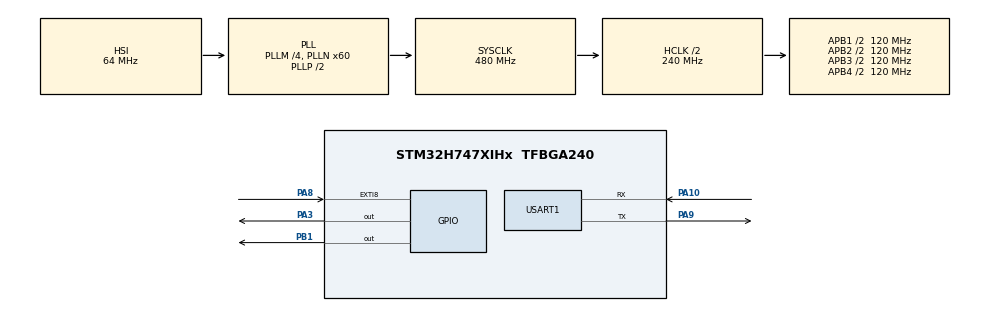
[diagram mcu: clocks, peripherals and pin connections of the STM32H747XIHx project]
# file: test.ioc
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CORTEX_M7.default_mode_Activation=1
CortexM4.IPs=CORTEX_M4\:I,FATFS_M4\:I,FREERTOS_M4\:I,IWDG2\:I,OPENAMP_M4\:I,PDM2PCM_M4\:I,PWR,RCC,RESMGR_UTILITY,SYS_M4\:I,USB_DEVICE_M4\:I,USB_HOST_M4\:I,VREFBUF,WWDG2\:I,GPIO,DMA,BDMA,MDMA,NVIC2\:I
CortexM7.IPs=CORTEX_M7\:I,FATFS_M7\:I,FREERTOS_M7\:I,IWDG1\:I,OPENAMP_M7\:I,PDM2PCM_M7\:I,PWR\:I,RCC\:I,RESMGR_UTILITY\:I,SYS\:I,USB_DEVICE_M7\:I,USB_HOST_M7\:I,VREFBUF\:I,WWDG1\:I,GPIO\:I,DMA\:I,BDMA\:I,MDMA\:I,NVIC1\:I,USART1\:I,RTC\:I
CortexM7.Pins=PA8,PB1,PA3
Mcu.Family=STM32H7
Mcu.Name=STM32H747XIHx
Mcu.Package=TFBGA240
NVIC1.EXTI9_5_IRQn=true\:0\:0\:false\:false\:true\:true\:true\:true
NVIC1.PriorityGroup=NVIC_PRIORITYGROUP_4
NVIC1.USART1_IRQn=true\:0\:0\:false\:false\:true\:true\:true\:true
NVIC2.PriorityGroup=NVIC_PRIORITYGROUP_4
PA10.Mode=Asynchronous
PA10.PinAttribute=CortexM7
PA10.Signal=USART1_RX
PA3.PinAttribute=CortexM7
PA3.PinState=GPIO_PIN_SET
PA3.Signal=GPIO_Output
PA8.GPIO_ModeDefaultEXTI=GPIO_MODE_IT_RISING
PA8.GPIO_PuPd=GPIO_PULLDOWN
PA8.PinAttribute=CortexM7
PA8.Signal=GPXTI8
PA9.Mode=Asynchronous
PA9.PinAttribute=CortexM7
PA9.Signal=USART1_TX
PB1.PinAttribute=CortexM7
PB1.PinState=GPIO_PIN_SET
PB1.Signal=GPIO_Output
ProjectManager.HeapSize=M4-0x200,M7-0x200
ProjectManager.StackSize=M4-0x400,M7-0x400
ProjectManager.TargetToolchain=Makefile
RCC.ADCFreq_Value=129000000
RCC.APB1Freq_Value=120000000
RCC.APB2Freq_Value=120000000
RCC.APB3Freq_Value=120000000
RCC.APB4Freq_Value=120000000
RCC.CortexFreq_Value=480000000
RCC.D1PPRE=RCC_APB3_DIV2
RCC.D2PPRE1=RCC_APB1_DIV2
RCC.D2PPRE2=RCC_APB2_DIV2
RCC.D3PPRE=RCC_APB4_DIV2
RCC.DIVM1=4
RCC.DIVN1=60
RCC.HCLKFreq_Value=240000000
RCC.HPRE=RCC_HCLK_DIV2
RCC.PLL2FRACN=0
RCC.PLL3FRACN=0
RCC.PLLFRACN=0
RCC.SYSCLKFreq_VALUE=480000000
RCC.SYSCLKSource=RCC_SYSCLKSOURCE_PLLCLK
RCC.USBFreq_Value=480000000
SYS.userName=SYS_M7
USART1.VirtualMode-Asynchronous=VM_ASYNC
VP_RTC_VS_RTC_Activate.Mode=RTC_Enabled
VP_RTC_VS_RTC_Calendar.Mode=RTC_Calendar
VP_SYS_M4_VS_Systick.Mode=SysTick
board=custom

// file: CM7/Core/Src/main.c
/* USER CODE BEGIN Header */
/**
 ******************************************************************************
 * @file           : main.c
 * @brief          : Main program body
 ******************************************************************************
 * @attention
 *
 * Copyright (c) 2026 STMicroelectronics.
 * All rights reserved.
 *
 * This software is licensed under terms that can be found in the LICENSE file
 * in the root directory of this software component.
 * If no LICENSE file comes with this software, it is provided AS-IS.
 *
 ******************************************************************************
 */
/* USER CODE END Header */
#include "main.h"
#include "rtc.h"
#include "usart.h"
#include "gpio.h"

/* USER CODE BEGIN PD */

#ifndef HSEM_ID_0
#define HSEM_ID_0 (0U) /* HW semaphore 0*/
#endif

/* USER CODE END PD */

/* USER CODE BEGIN PM */
#include <stdio.h>
/* USER CODE END PM */

void SystemClock_Config(void);
static void MPU_Config(void);

/* USER CODE BEGIN 0 */
#define BCD2BIN(x)  ((((x) >> 4) * 10) + ((x) & 0x0F))
void RTC_ReadDateTime(uint8_t *hour, uint8_t *min, uint8_t *sec,
                      uint8_t *year, uint8_t *month, uint8_t *date, uint8_t *weekday)
{
    RTC_TimeTypeDef sTime = {0};
    RTC_DateTypeDef sDate = {0};
    HAL_RTC_GetTime(&hrtc, &sTime, RTC_FORMAT_BCD);
    HAL_RTC_GetDate(&hrtc, &sDate, RTC_FORMAT_BCD);
    if (hour)    *hour    = BCD2BIN(sTime.Hours);
    if (min)     *min     = BCD2BIN(sTime.Minutes);
    if (sec)     *sec     = BCD2BIN(sTime.Seconds);
    if (year)    *year    = BCD2BIN(sDate.Year);     /* 例：0x26 -> 26，表示 2026 */
    if (month)   *month   = BCD2BIN(sDate.Month);
    if (date)     *date    = BCD2BIN(sDate.Date);
    if (weekday) *weekday = BCD2BIN(sDate.WeekDay);   /* 1~7 */
}

void RTC_PrintExample(void)
{
    uint8_t h, m, s, y, mon, d, wd;
    RTC_ReadDateTime(&h, &m, &s, &y, &mon, &d, &wd);

    printf("20%02u-%02u-%02u %02u:%02u:%02u Weekday=%u\r\n",
           y, mon, d, h, m, s, wd);
}

/* USER CODE END 0 */

int main(void)
{

  /* USER CODE BEGIN Boot_Mode_Sequence_0 */
  int32_t timeout;
  /* USER CODE END Boot_Mode_Sequence_0 */

  /* MPU Configuration--------------------------------------------------------*/
  MPU_Config();

  /* USER CODE BEGIN Boot_Mode_Sequence_1 */
  /* Wait until CPU2 boots and enters in stop mode or timeout*/
  timeout = 0xFFFF;
  while ((__HAL_RCC_GET_FLAG(RCC_FLAG_D2CKRDY) != RESET) && (timeout-- > 0))
    ;
  if (timeout < 0)
  {
    Error_Handler();
  }
  /* USER CODE END Boot_Mode_Sequence_1 */
  /* MCU Configuration--------------------------------------------------------*/

  /* Reset of all peripherals, Initializes the Flash interface and the Systick. */
  HAL_Init();

  /* Configure the system clock */
  SystemClock_Config();
  /* USER CODE BEGIN Boot_Mode_Sequence_2 */
  /* When system initialization is finished, Cortex-M7 will release Cortex-M4 by means of
  HSEM notification */
  /*HW semaphore Clock enable*/
  __HAL_RCC_HSEM_CLK_ENABLE();
  /*Take HSEM */
  HAL_HSEM_FastTake(HSEM_ID_0);
  /*Release HSEM in order to notify the CPU2(CM4)*/
  HAL_HSEM_Release(HSEM_ID_0, 0);
  /* wait until CPU2 wakes up from stop mode */
  timeout = 0xFFFF;
  while ((__HAL_RCC_GET_FLAG(RCC_FLAG_D2CKRDY) == RESET) && (timeout-- > 0))
    ;
  if (timeout < 0)
  {
    Error_Handler();
  }
  /* USER CODE END Boot_Mode_Sequence_2 */

  /* Initialize all configured peripherals */
  MX_GPIO_Init();
  MX_USART1_UART_Init();
  MX_RTC_Init();

  /* Infinite loop */
  while (1)
  {
    RTC_PrintExample();
    HAL_Delay(1000);
  }
}

void SystemClock_Config(void)
{
  RCC_OscInitTypeDef RCC_OscInitStruct = {0};
  RCC_ClkInitTypeDef RCC_ClkInitStruct = {0};

  /** Supply configuration update enable
   */
  HAL_PWREx_ConfigSupply(PWR_LDO_SUPPLY);

  /** Configure the main internal regulator output voltage
   */
  __HAL_PWR_VOLTAGESCALING_CONFIG(PWR_REGULATOR_VOLTAGE_SCALE0);

  while (!__HAL_PWR_GET_FLAG(PWR_FLAG_VOSRDY))
  {
  }

  /** Initializes the RCC Oscillators according to the specified parameters
   * in the RCC_OscInitTypeDef structure.
   */
  RCC_OscInitStruct.OscillatorType = RCC_OSCILLATORTYPE_HSI | RCC_OSCILLATORTYPE_LSI;
  RCC_OscInitStruct.HSIState = RCC_HSI_DIV1;
  RCC_OscInitStruct.HSICalibrationValue = RCC_HSICALIBRATION_DEFAULT;
  RCC_OscInitStruct.LSIState = RCC_LSI_ON;
  RCC_OscInitStruct.PLL.PLLState = RCC_PLL_ON;
  RCC_OscInitStruct.PLL.PLLSource = RCC_PLLSOURCE_HSI;
  RCC_OscInitStruct.PLL.PLLM = 4;
  RCC_OscInitStruct.PLL.PLLN = 60;
  RCC_OscInitStruct.PLL.PLLP = 2;
  RCC_OscInitStruct.PLL.PLLQ = 2;
  RCC_OscInitStruct.PLL.PLLR = 2;
  RCC_OscInitStruct.PLL.PLLRGE = RCC_PLL1VCIRANGE_3;
  RCC_OscInitStruct.PLL.PLLVCOSEL = RCC_PLL1VCOWIDE;
  RCC_OscInitStruct.PLL.PLLFRACN = 0;
  if (HAL_RCC_OscConfig(&RCC_OscInitStruct) != HAL_OK)
  {
    Error_Handler();
  }

  /** Initializes the CPU, AHB and APB buses clocks
   */
  RCC_ClkInitStruct.ClockType = RCC_CLOCKTYPE_HCLK | RCC_CLOCKTYPE_SYSCLK | RCC_CLOCKTYPE_PCLK1 | RCC_CLOCKTYPE_PCLK2 | RCC_CLOCKTYPE_D3PCLK1 | RCC_CLOCKTYPE_D1PCLK1;
  RCC_ClkInitStruct.SYSCLKSource = RCC_SYSCLKSOURCE_PLLCLK;
  RCC_ClkInitStruct.SYSCLKDivider = RCC_SYSCLK_DIV1;
  RCC_ClkInitStruct.AHBCLKDivider = RCC_HCLK_DIV2;
  RCC_ClkInitStruct.APB3CLKDivider = RCC_APB3_DIV2;
  RCC_ClkInitStruct.APB1CLKDivider = RCC_APB1_DIV2;
  RCC_ClkInitStruct.APB2CLKDivider = RCC_APB2_DIV2;
  RCC_ClkInitStruct.APB4CLKDivider = RCC_APB4_DIV2;

  if (HAL_RCC_ClockConfig(&RCC_ClkInitStruct, FLASH_LATENCY_4) != HAL_OK)
  {
    Error_Handler();
  }
}

/* MPU Configuration */

void MPU_Config(void)
{
  MPU_Region_InitTypeDef MPU_InitStruct = {0};

  /* Disables the MPU */
  HAL_MPU_Disable();

  /** Initializes and configures the Region and the memory to be protected
   */
  MPU_InitStruct.Enable = MPU_REGION_ENABLE;
  MPU_InitStruct.Number = MPU_REGION_NUMBER0;
  MPU_InitStruct.BaseAddress = 0x0;
  MPU_InitStruct.Size = MPU_REGION_SIZE_4GB;
  MPU_InitStruct.SubRegionDisable = 0x87;
  MPU_InitStruct.TypeExtField = MPU_TEX_LEVEL0;
  MPU_InitStruct.AccessPermission = MPU_REGION_NO_ACCESS;
  MPU_InitStruct.DisableExec = MPU_INSTRUCTION_ACCESS_DISABLE;
  MPU_InitStruct.IsShareable = MPU_ACCESS_SHAREABLE;
  MPU_InitStruct.IsCacheable = MPU_ACCESS_NOT_CACHEABLE;
  MPU_InitStruct.IsBufferable = MPU_ACCESS_NOT_BUFFERABLE;

  HAL_MPU_ConfigRegion(&MPU_InitStruct);
  /* Enables the MPU */
  HAL_MPU_Enable(MPU_PRIVILEGED_DEFAULT);
}

void Error_Handler(void)
{
  __disable_irq();
  while (1)
  {
  }
}
